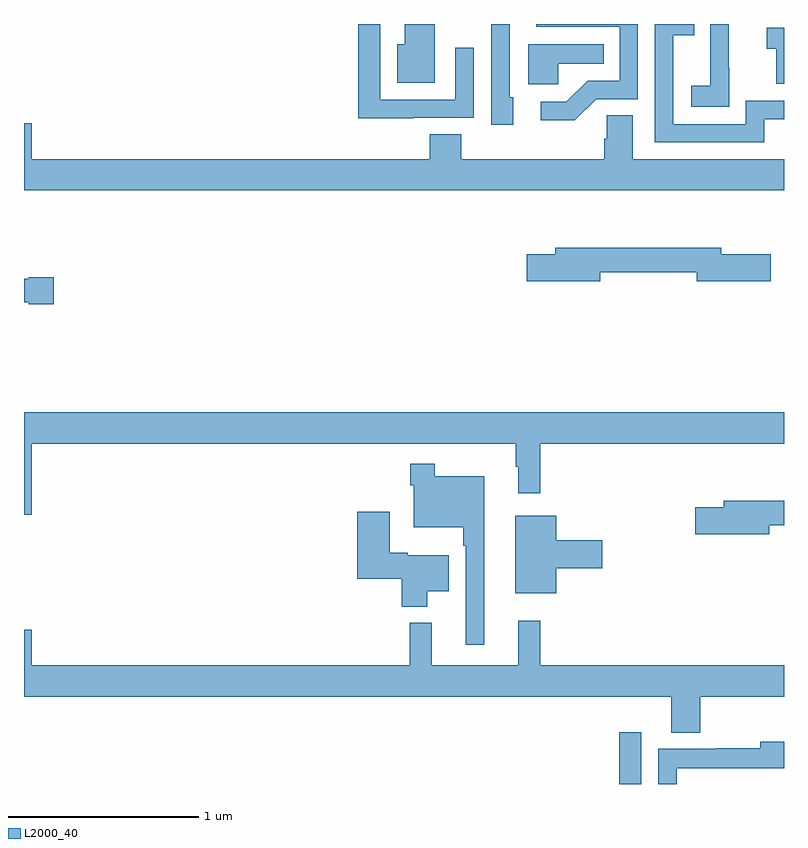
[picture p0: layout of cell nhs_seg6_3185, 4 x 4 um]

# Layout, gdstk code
import gdstk
lib = gdstk.Library(unit=1e-6, precision=1e-09)
def R(c, l, rs):  # rectangles x0, y0, x1, y1
    for r in rs: c.add(gdstk.rectangle(r[:2], r[2:], *l))
def P(c, l, *ps):  # polygons
    for p in ps: c.add(gdstk.Polygon(p, *l))
L2000_40 = (2000, 40)

nhs_seg6_3185 = lib.new_cell('nhs_seg6_3185')
R(nhs_seg6_3185, L2000_40, [(300.133,989.5,300.249,989.773)])
P(nhs_seg6_3185, L2000_40, [(300.895,993),(301,993),(301,993.096),(300.798,993.096),(300.798,992.973),(300.417,992.973),(300.417,993.442),(300.527,993.442),(300.527,993.5),(300.321,993.5),(300.321,992.877),(300.895,992.877)],
  [(299.575,993.114),(299.556,993.114),(299.556,993.421),(299.557,993.421),(299.557,993.5),(299.458,993.5),(299.458,993.463),(299.46,993.463),(299.46,992.97),(299.575,992.97)],
  [(300.012,993.105),(300.231,993.105),(300.231,993.5),(299.697,993.5),(299.697,993.486),(300.135,993.486),(300.135,993.201),(299.966,993.201),(299.855,993.09),(299.721,993.09),(299.721,992.993),(299.899,992.993)],
  [(300.711,993.271),(300.71,993.271),(300.71,993.5),(300.612,993.5),(300.612,993.404),(300.611,993.404),(300.611,993.175),(300.513,993.175),(300.513,993.065),(300.711,993.065)],
  [(299.161,993.5),(299.003,993.5),(299.003,993.394),(298.964,993.394),(298.964,993.191),(299.161,993.191)],
  [(299.051,993.006),(299.367,993.006),(299.367,993.376),(299.271,993.376),(299.271,993.102),(298.875,993.102),(298.875,993.5),(298.759,993.5),(298.759,993.005),(299.051,993.005)],
  [(301,993.481),(300.909,993.481),(300.909,993.371),(300.958,993.371),(300.958,993.186),(301,993.186)],
  [(299.811,993.29),(300.05,993.29),(300.05,993.394),(299.654,993.394),(299.654,993.182),(299.811,993.182)],
  [(301,992.788),(300.205,992.788),(300.205,993.02),(300.066,993.02),(300.066,992.897),(300.053,992.897),(300.053,992.788),(299.3,992.788),(299.3,992.921),(299.135,992.921),(299.135,992.788),(297.04,992.788),(297.04,992.977),(297,992.977),(297,992.624),(301,992.624)],
  [(300.034,992.194),(300.542,992.194),(300.542,992.147),(300.931,992.147),(300.931,992.289),(300.67,992.289),(300.67,992.323),(299.795,992.323),(299.795,992.289),(299.646,992.289),(299.646,992.147),(300.034,992.147)],
  [(297.157,992.166),(297.024,992.166),(297.024,992.158),(297,992.158),(297,992.036),(297.024,992.036),(297.024,992.024),(297.157,992.024)],
  [(297.04,991.292),(299.589,991.292),(299.589,991.169),(299.6,991.169),(299.6,991.029),(299.717,991.029),(299.717,991.292),(301,991.292),(301,991.456),(297,991.456),(297,990.918),(297.04,990.918)],
  [(299.422,991.12),(299.161,991.12),(299.161,991.186),(299.032,991.186),(299.032,991.073),(299.052,991.073),(299.052,990.851),(299.313,990.851),(299.313,990.755),(299.325,990.755),(299.325,990.234),(299.422,990.234)],
  [(300.922,990.862),(301,990.862),(301,990.991),(300.683,990.991),(300.683,990.957),(300.534,990.957),(300.534,990.815),(300.922,990.815)],
  [(299.122,990.515),(299.236,990.515),(299.236,990.703),(299.02,990.703),(299.02,990.716),(298.924,990.716),(298.924,990.934),(298.754,990.934),(298.754,990.581),(298.988,990.581),(298.988,990.434),(299.122,990.434)],
  [(299.8,990.635),(300.043,990.635),(300.043,990.782),(299.8,990.782),(299.8,990.913),(299.585,990.913),(299.585,990.503),(299.8,990.503)],
  [(300.56,989.96),(301,989.96),(301,990.124),(299.717,990.124),(299.717,990.358),(299.6,990.358),(299.6,990.124),(299.147,990.124),(299.147,990.349),(299.029,990.349),(299.029,990.124),(297.04,990.124),(297.04,990.313),(297,990.313),(297,989.96),(300.407,989.96),(300.407,989.771),(300.56,989.771)],
  [(300.435,989.582),(301,989.582),(301,989.722),(300.875,989.722),(300.875,989.689),(300.643,989.689),(300.643,989.686),(300.339,989.686),(300.339,989.5),(300.435,989.5)])

lib.write_gds('nhs_seg6_3185.gds')
